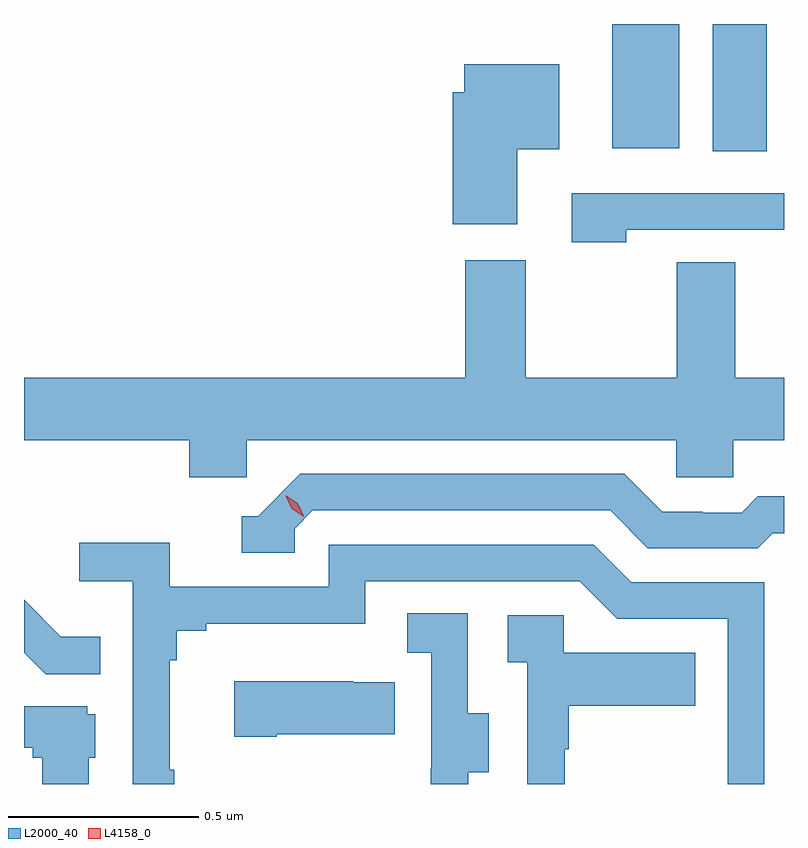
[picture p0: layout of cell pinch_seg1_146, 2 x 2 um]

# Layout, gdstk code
import gdstk
lib = gdstk.Library(unit=1e-6, precision=1e-09)
def R(c, l, rs):  # rectangles x0, y0, x1, y1
    for r in rs: c.add(gdstk.rectangle(r[:2], r[2:], *l))
def P(c, l, *ps):  # polygons
    for p in ps: c.add(gdstk.Polygon(p, *l))
L2000_40 = (2000, 40)
L4158_0 = (4158, 0)

pinch_seg1_146 = lib.new_cell('pinch_seg1_146')
R(pinch_seg1_146, L2000_40, [(1117.286,547.164,1117.429,547.499), (1117.022,547.172,1117.198,547.499)])
P(pinch_seg1_146, L2000_40, [(1116.772,547.169),(1116.883,547.169),(1116.883,547.393),(1116.632,547.393),(1116.632,547.32),(1116.602,547.32),(1116.602,546.972),(1116.772,546.972)],
  [(1117.059,546.957),(1117.474,546.957),(1117.474,547.053),(1116.915,547.053),(1116.915,546.925),(1117.059,546.925)],
  [(1116.06,546.404),(1117.191,546.404),(1117.191,546.306),(1117.341,546.306),(1117.341,546.404),(1117.474,546.404),(1117.474,546.568),(1117.346,546.568),(1117.346,546.872),(1117.192,546.872),(1117.192,546.568),(1116.795,546.568),(1116.795,546.877),(1116.635,546.877),(1116.635,546.568),(1115.474,546.568),(1115.474,546.404),(1115.909,546.404),(1115.909,546.306),(1116.06,546.306)],
  [(1116.186,546.171),(1116.234,546.219),(1117.017,546.219),(1117.116,546.12),(1117.405,546.12),(1117.444,546.159),(1117.474,546.159),(1117.474,546.256),(1117.405,546.256),(1117.363,546.213),(1117.26,546.213),(1117.26,546.216),(1117.153,546.216),(1117.054,546.315),(1116.201,546.315),(1116.09,546.204),(1116.047,546.204),(1116.047,546.108),(1116.186,546.108)],
  [(1115.869,545.537),(1115.857,545.537),(1115.857,545.825),(1115.876,545.825),(1115.876,545.902),(1115.953,545.902),(1115.953,545.921),(1116.372,545.921),(1116.372,546.033),(1116.936,546.033),(1117.035,545.934),(1117.326,545.934),(1117.326,545.499),(1117.422,545.499),(1117.422,546.03),(1117.072,546.03),(1116.973,546.129),(1116.276,546.129),(1116.276,546.018),(1115.858,546.018),(1115.858,546.134),(1115.619,546.134),(1115.619,546.032),(1115.76,546.032),(1115.76,545.499),(1115.869,545.499)],
  [(1115.675,545.887),(1115.571,545.887),(1115.474,545.984),(1115.474,545.845),(1115.531,545.788),(1115.675,545.788)],
  [(1116.643,545.53),(1116.697,545.53),(1116.697,545.685),(1116.642,545.685),(1116.642,545.948),(1116.483,545.948),(1116.483,545.845),(1116.546,545.845),(1116.546,545.541),(1116.545,545.541),(1116.545,545.499),(1116.643,545.499)],
  [(1116.897,545.591),(1116.907,545.591),(1116.907,545.705),(1117.241,545.705),(1117.241,545.845),(1116.894,545.845),(1116.894,545.943),(1116.747,545.943),(1116.747,545.819),(1116.798,545.819),(1116.798,545.499),(1116.897,545.499)],
  [(1116.139,545.63),(1116.449,545.63),(1116.449,545.767),(1116.341,545.767),(1116.341,545.77),(1116.027,545.77),(1116.027,545.623),(1116.139,545.623)],
  [(1115.644,545.568),(1115.662,545.568),(1115.662,545.682),(1115.64,545.682),(1115.64,545.703),(1115.474,545.703),(1115.474,545.595),(1115.497,545.595),(1115.497,545.568),(1115.522,545.568),(1115.522,545.499),(1115.644,545.499)])
P(pinch_seg1_146, L4158_0, [(1116.209,546.204),(1116.179,546.224),(1116.163,546.258),(1116.163,546.258),(1116.164,546.258),(1116.194,546.238),(1116.21,546.204),(1116.21,546.204)])

lib.write_gds('pinch_seg1_146.gds')
